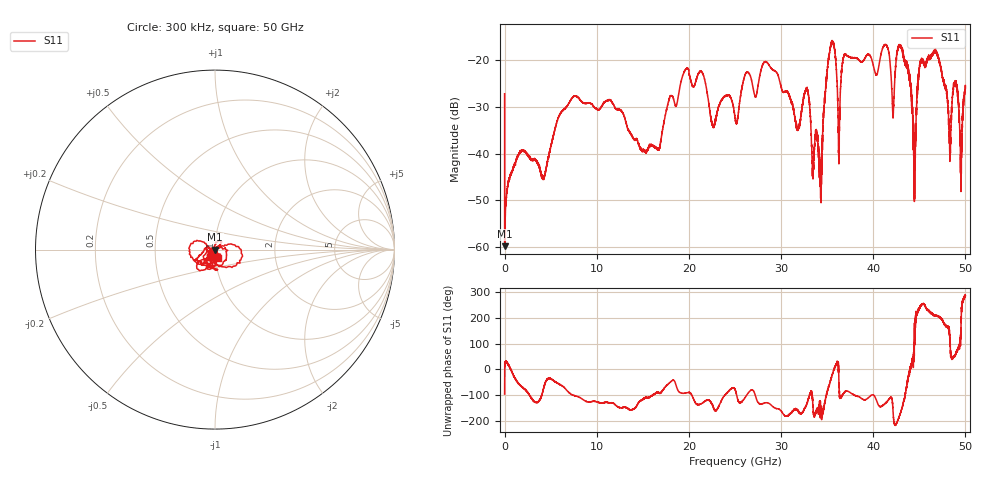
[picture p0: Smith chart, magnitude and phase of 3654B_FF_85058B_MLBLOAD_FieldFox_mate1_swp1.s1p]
!Created with skrf (http://scikit-rf.org).
# Hz S RI R 50.0
!freq ReS11 ImS11
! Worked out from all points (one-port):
!   10001 points, 300 kHz to 50 GHz, reference 50 ohm
!   lowest |S11| = -59.8 dB at 5.3 MHz (marker M1), VSWR 1.00, Z = 50.1 - j0.0626 ohm
!   |S11| at or under -10 dB: start of sweep to end of sweep
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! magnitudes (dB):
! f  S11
! 300 kHz  -27.2
! 5.3 MHz  -59.8
! 255.3 MHz  -48.0
! 1.85 GHz  -39.4
! 4.215 GHz  -45.0
! 6.25 GHz  -30.9
! 12.5 GHz  -30.6
! 15.3 GHz  -39.6
! 18.75 GHz  -28.8
! 21.3 GHz  -22.4
! 22.6 GHz  -34.0
! 25 GHz  -32.2
! 28.3 GHz  -20.4
! 31.25 GHz  -29.6
! 32.83 GHz  -25.8
! 33.42 GHz  -43.1
! 34.25 GHz  -44.6
! 35.39 GHz  -16.9
! 36.28 GHz  -42.2
! 37.5 GHz  -19.5
! 43.75 GHz  -21.3
! 44.45 GHz  -42.4
! 45.26 GHz  -20.0
! 46.91 GHz  -18.6
! 48.31 GHz  -37.2
! 48.96 GHz  -24.7
! 49.52 GHz  -43.0
! 50 GHz  -26.1
